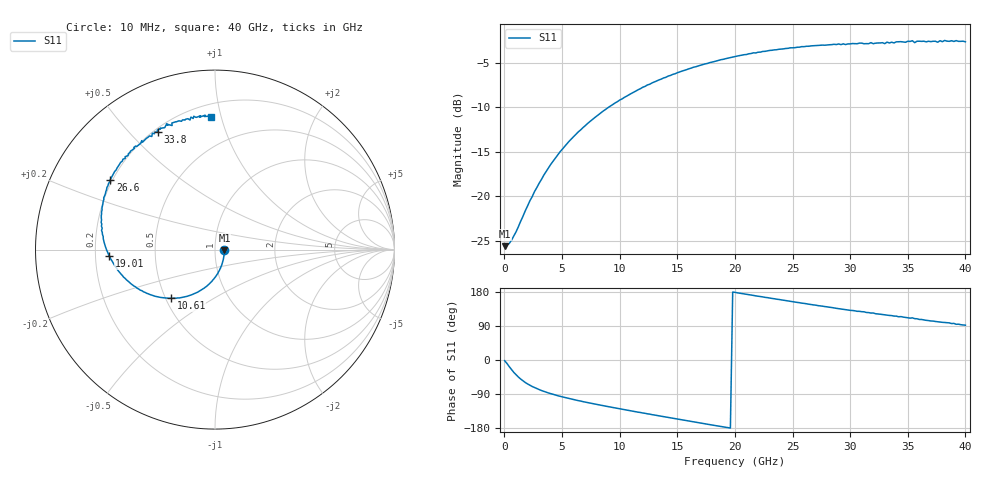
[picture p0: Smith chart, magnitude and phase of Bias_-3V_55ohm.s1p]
!Agilent Technologies,N5227A,US51270434,A.10.00.00
!Agilent N5227A: A.10.00.00
!Date: Monday, March 30, 2026 11:24:37
!Correction: S11(Full 1 Port(1))
!S1P File: Measurement: S11:
# Hz S  dB  R 50
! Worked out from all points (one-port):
!   201 points, 10 MHz to 40 GHz, reference 50 ohm
!   lowest |S11| = -25.6 dB at 10 MHz (marker M1), VSWR 1.11, Z = 55.5 - j0.179 ohm
!   |S11| at or under -10 dB: start of sweep to 9.021 GHz
!   S11 on the Smith chart (normalised r, x): 10 MHz: 1.11, -0.00; 10.61 GHz: 0.53, -0.33; 19.01 GHz: 0.26, -0.03; 26.6 GHz: 0.19, +0.29; 33.8 GHz: 0.22, +0.61; 40 GHz: 0.28, +0.93
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1e7  -25.63 -1.8
6.0985e8  -24.95 -25.0
3.00925e9  -18.54 -78.0
5.00875e9  -14.72 -97.2
7.2082e9  -11.82 -112.2
1.00075e10  -9.17 -128.7
1.060735e10  -8.74 -132.3
1.260685e10  -7.40 -142.8
1.500625e10  -6.10 -155.8
1.900525e10  -4.59 -176.6
2.0005e10  -4.29 178.6
2.24044e10  -3.71 166.5
2.500375e10  -3.30 154.0
2.660335e10  -3.08 146.3
3.00025e10  -2.86 131.1
3.180205e10  -2.72 123.9
3.2002e10  -2.83 124.1
3.32017e10  -2.66 118.3
3.380155e10  -2.75 115.9
3.44014e10  -2.61 114.6
3.500125e10  -2.56 111.5
3.52012e10  -2.58 110.5
3.540115e10  -2.50 111.2
3.56011e10  -2.72 109.1
3.6001e10  -2.56 107.0
3.76006e10  -2.67 100.9
3.820045e10  -2.47 99.0
4e10  -2.62 91.8
